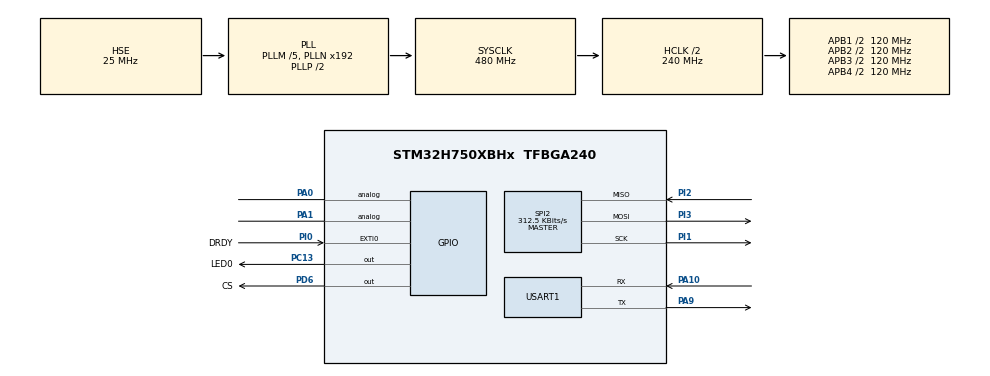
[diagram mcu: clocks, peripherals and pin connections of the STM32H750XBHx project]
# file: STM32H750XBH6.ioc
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CORTEX_M7.AccessPermission-Cortex_Memory_Protection_Unit_Region0_Settings=MPU_REGION_FULL_ACCESS
CORTEX_M7.BaseAddress-Cortex_Memory_Protection_Unit_Region0_Settings=0xC0000000
CORTEX_M7.CPU_DCache=Enabled
CORTEX_M7.CPU_ICache=Enabled
CORTEX_M7.Enable-Cortex_Memory_Protection_Unit_Region0_Settings=MPU_REGION_ENABLE
CORTEX_M7.IsCacheable-Cortex_Memory_Protection_Unit_Region0_Settings=MPU_ACCESS_CACHEABLE
CORTEX_M7.MPU_Control=MPU_PRIVILEGED_DEFAULT
CORTEX_M7.Size-Cortex_Memory_Protection_Unit_Region0_Settings=MPU_REGION_SIZE_32MB
Mcu.Family=STM32H7
Mcu.Name=STM32H750XBHx
Mcu.Package=TFBGA240
NVIC.PriorityGroup=NVIC_PRIORITYGROUP_4
NVIC.USART1_IRQn=true\:0\:0\:false\:false\:true\:true\:true\:true
PA0.Signal=GPIO_Analog
PA1.Signal=GPIO_Analog
PA10.Mode=Asynchronous
PA10.Signal=USART1_RX
PA13\ (JTMS/SWDIO).Mode=Serial_Wire
PA13\ (JTMS/SWDIO).Signal=DEBUG_JTMS-SWDIO
PA14\ (JTCK/SWCLK).Mode=Serial_Wire
PA14\ (JTCK/SWCLK).Signal=DEBUG_JTCK-SWCLK
PA9.Mode=Asynchronous
PA9.Signal=USART1_TX
PC13.GPIO_Label=LED0
PC13.Signal=GPIO_Output
PC14-OSC32_IN\ (OSC32_IN).Mode=LSE-External-Oscillator
PC14-OSC32_IN\ (OSC32_IN).Signal=RCC_OSC32_IN
PC15-OSC32_OUT\ (OSC32_OUT).Mode=LSE-External-Oscillator
PC15-OSC32_OUT\ (OSC32_OUT).Signal=RCC_OSC32_OUT
PD6.GPIO_Label=CS
PD6.PinState=GPIO_PIN_SET
PD6.Signal=GPIO_Output
PF7.GPIO_Speed=GPIO_SPEED_FREQ_VERY_HIGH
PF7.Signal=QUADSPI_BK1_IO2
PF8.GPIO_Speed=GPIO_SPEED_FREQ_VERY_HIGH
PF8.Signal=QUADSPI_BK1_IO0
PF9.GPIO_Speed=GPIO_SPEED_FREQ_VERY_HIGH
PF9.Signal=QUADSPI_BK1_IO1
PG6.GPIO_Speed=GPIO_SPEED_FREQ_VERY_HIGH
PG6.Signal=QUADSPI_BK1_NCS
PH0-OSC_IN\ (PH0).Mode=HSE-External-Oscillator
PH0-OSC_IN\ (PH0).Signal=RCC_OSC_IN
PH1-OSC_OUT\ (PH1).Mode=HSE-External-Oscillator
PH1-OSC_OUT\ (PH1).Signal=RCC_OSC_OUT
PH10.GPIO_Speed=GPIO_SPEED_FREQ_VERY_HIGH
PH10.Signal=DCMI_D1
PH12.GPIO_Speed=GPIO_SPEED_FREQ_VERY_HIGH
PH12.Signal=DCMI_D3
PH2.Signal=FMC_SDCKE0
PH3.Signal=FMC_SDNE0
PH4.GPIO_Speed=GPIO_SPEED_FREQ_VERY_HIGH
PH4.Signal=LTDC_G5
PH6.Signal=S_TIM12_CH1
PH9.GPIO_Speed=GPIO_SPEED_FREQ_VERY_HIGH
PH9.Signal=DCMI_D0
PI0.GPIO_Label=DRDY
PI0.GPIO_ModeDefaultEXTI=GPIO_MODE_IT_FALLING
PI0.Signal=GPXTI0
PI1.Mode=Full_Duplex_Master
PI1.Signal=SPI2_SCK
PI12.GPIO_Speed=GPIO_SPEED_FREQ_VERY_HIGH
PI12.Signal=LTDC_HSYNC
PI13.GPIO_Speed=GPIO_SPEED_FREQ_VERY_HIGH
PI13.Signal=LTDC_VSYNC
PI14.GPIO_Speed=GPIO_SPEED_FREQ_VERY_HIGH
PI14.Signal=LTDC_CLK
PI15.GPIO_Speed=GPIO_SPEED_FREQ_VERY_HIGH
PI15.Signal=LTDC_R0
PI2.Mode=Full_Duplex_Master
PI2.Signal=SPI2_MISO
PI3.Mode=Full_Duplex_Master
PI3.Signal=SPI2_MOSI
PJ0.GPIO_Speed=GPIO_SPEED_FREQ_VERY_HIGH
PJ0.Signal=LTDC_R1
PJ1.GPIO_Speed=GPIO_SPEED_FREQ_VERY_HIGH
PJ1.Signal=LTDC_R2
PJ12.GPIO_Speed=GPIO_SPEED_FREQ_VERY_HIGH
PJ12.Signal=LTDC_B0
PJ13.GPIO_Speed=GPIO_SPEED_FREQ_VERY_HIGH
PJ13.Signal=LTDC_B1
PJ14.GPIO_Speed=GPIO_SPEED_FREQ_VERY_HIGH
PJ14.Signal=LTDC_B2
PJ15.GPIO_Speed=GPIO_SPEED_FREQ_VERY_HIGH
PJ15.Signal=LTDC_B3
PJ2.GPIO_Speed=GPIO_SPEED_FREQ_VERY_HIGH
PJ2.Signal=LTDC_R3
PJ3.GPIO_Speed=GPIO_SPEED_FREQ_VERY_HIGH
PJ3.Signal=LTDC_R4
PJ4.GPIO_Speed=GPIO_SPEED_FREQ_VERY_HIGH
PJ4.Signal=LTDC_R5
PJ5.GPIO_Speed=GPIO_SPEED_FREQ_VERY_HIGH
PJ5.Signal=LTDC_R6
PJ6.GPIO_Speed=GPIO_SPEED_FREQ_VERY_HIGH
PJ6.Signal=LTDC_R7
PJ7.GPIO_Speed=GPIO_SPEED_FREQ_VERY_HIGH
PJ7.Signal=LTDC_G0
PJ8.GPIO_Speed=GPIO_SPEED_FREQ_VERY_HIGH
PJ8.Signal=LTDC_G1
PJ9.GPIO_Speed=GPIO_SPEED_FREQ_VERY_HIGH
PJ9.Signal=LTDC_G2
PK1.GPIO_Speed=GPIO_SPEED_FREQ_VERY_HIGH
PK1.Signal=LTDC_G6
PK2.GPIO_Speed=GPIO_SPEED_FREQ_VERY_HIGH
PK2.Signal=LTDC_G7
PK3.GPIO_Speed=GPIO_SPEED_FREQ_VERY_HIGH
PK3.Signal=LTDC_B4
PK4.GPIO_Speed=GPIO_SPEED_FREQ_VERY_HIGH
PK4.Signal=LTDC_B5
PK5.GPIO_Speed=GPIO_SPEED_FREQ_VERY_HIGH
PK5.Signal=LTDC_B6
PK6.GPIO_Speed=GPIO_SPEED_FREQ_VERY_HIGH
PK6.Signal=LTDC_B7
ProjectManager.HeapSize=0x3000
ProjectManager.StackSize=0x2000
ProjectManager.TargetToolchain=CMake
RCC.ADCCLockSelection=RCC_ADCCLKSOURCE_PLL3
RCC.ADCFreq_Value=25000000
RCC.APB1Freq_Value=120000000
RCC.APB2Freq_Value=120000000
RCC.APB3Freq_Value=120000000
RCC.APB4Freq_Value=120000000
RCC.CortexFreq_Value=480000000
RCC.D1PPRE=RCC_APB3_DIV2
RCC.D2PPRE1=RCC_APB1_DIV2
RCC.D2PPRE2=RCC_APB2_DIV2
RCC.D3PPRE=RCC_APB4_DIV2
RCC.DIVM1=5
RCC.DIVM2=10
RCC.DIVM3=5
RCC.DIVN1=192
RCC.DIVN2=160
RCC.DIVN3=100
RCC.DIVP2=10
RCC.DIVQ1=4
RCC.DIVQ3=20
RCC.DIVR3=20
RCC.HCLKFreq_Value=240000000
RCC.HPRE=RCC_HCLK_DIV2
RCC.PLLSourceVirtual=RCC_PLLSOURCE_HSE
RCC.RTCClockSelection=RCC_RTCCLKSOURCE_LSE
RCC.SPI123CLockSelection=RCC_SPI123CLKSOURCE_PLL2
RCC.SYSCLKFreq_VALUE=480000000
RCC.SYSCLKSource=RCC_SYSCLKSOURCE_PLLCLK
RCC.USBFreq_Value=240000000
SH.S_TIM12_CH1.0=TIM12_CH1
SPI2.BaudRatePrescaler=SPI_BAUDRATEPRESCALER_128
SPI2.CLKPhase=SPI_PHASE_2EDGE
SPI2.CalculateBaudRate=312.5 KBits/s
SPI2.DataSize=SPI_DATASIZE_8BIT
SPI2.Direction=SPI_DIRECTION_2LINES
SPI2.Mode=SPI_MODE_MASTER
SPI2.VirtualType=VM_MASTER
STMicroelectronics.X-CUBE-TOUCHGFX.4.20.0.tgfx_address1=0xC0000000
STMicroelectronics.X-CUBE-TOUCHGFX.4.20.0.tgfx_address2=0xC00BB800
STMicroelectronics.X-CUBE-TOUCHGFX.4.20.0.tgfx_buffering_strategy=Double
STMicroelectronics.X-CUBE-TOUCHGFX.4.20.0.tgfx_custom_height=480
STMicroelectronics.X-CUBE-TOUCHGFX.4.20.0.tgfx_display_interface=disp_ltdc
STMicroelectronics.X-CUBE-TOUCHGFX.4.20.0.tgfx_hardware_accelerator=dma_2d
STMicroelectronics.X-CUBE-TOUCHGFX.4.20.0.tgfx_location=By Address
STMicroelectronics.X-CUBE-TOUCHGFX.4.20.0.tgfx_vsync=vsync_ltdc
STMicroelectronics.X-CUBE-TOUCHGFX.4.20.0_IsPackSelfContextualization=true
USART1.VirtualMode-Asynchronous=VM_ASYNC
VP_CRC_VS_CRC.Mode=CRC_Activate
VP_MEMORYMAP_VS_MEMORYMAP.Mode=CurAppReg
VP_RTC_VS_RTC_Activate.Mode=RTC_Enabled
board=custom

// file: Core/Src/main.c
/* USER CODE BEGIN Header */
/**
  ******************************************************************************
  * @file           : main.c
  * @brief          : Main program body
  ******************************************************************************
  * @attention
  *
  * Copyright (c) 2026 STMicroelectronics.
  * All rights reserved.
  *
  * This software is licensed under terms that can be found in the LICENSE file
  * in the root directory of this software component.
  * If no LICENSE file comes with this software, it is provided AS-IS.
  *
  ******************************************************************************
  */
/* USER CODE END Header */
#include "main.h"
#include "crc.h"
#include "rtc.h"
#include "spi.h"
#include "usart.h"
#include "gpio.h"

/* USER CODE BEGIN Includes */
#include "ads1220.h"
#include <stdio.h>
/* USER CODE END Includes */

void SystemClock_Config(void);
static void MPU_Config(void);

/* USER CODE BEGIN 0 */

/* printf 重定向: 输出到 USART1 */
int __io_putchar(int ch)
{
    HAL_UART_Transmit(&huart1, (uint8_t *)&ch, 1, 100);
    return ch;
}

/* ======================================================================== */
/*  K 型热电偶 NIST 分度表 (0~100℃, 参考端 0℃, 步长 10℃)                     */
/*  单位: mV                                                                  */
/* ======================================================================== */
typedef struct
{
    float temp;     /* 温度 (℃) */
    float voltage;  /* 热电势 (mV) */
} TC_TableEntry;

static const TC_TableEntry tc_table_ktype[] = {
    {  0,  0.000f },
    { 10,  0.397f },
    { 20,  0.798f },
    { 30,  1.203f },
    { 40,  1.612f },
    { 50,  2.023f },
    { 60,  2.436f },
    { 70,  2.851f },
    { 80,  3.267f },
    { 90,  3.682f },
    {100,  4.096f },
};

#define TC_TABLE_SIZE  (sizeof(tc_table_ktype) / sizeof(tc_table_ktype[0]))

/* 冷端温度 25℃ 对应的 K 型热电势 (mV) */
#define COLD_JUNCTION_MV  1.000f

/**
  * @brief  线性插值: 根据热电势查 K 型热电偶温度
  * @param  mv  热电势 (mV), 已包含冷端补偿
  * @retval 温度 (℃), 超出范围返回边界值
  */
static float TC_VoltageToTemp(float mv)
{
    /* 低于表格下限 */
    if (mv <= tc_table_ktype[0].voltage)
        return tc_table_ktype[0].temp;

    /* 高于表格上限 */
    if (mv >= tc_table_ktype[TC_TABLE_SIZE - 1].voltage)
        return tc_table_ktype[TC_TABLE_SIZE - 1].temp;

    /* 查找区间并线性插值 */
    for (int i = 0; i < (int)(TC_TABLE_SIZE - 1); i++)
    {
        if (mv >= tc_table_ktype[i].voltage &&
            mv <  tc_table_ktype[i + 1].voltage)
        {
            float v0 = tc_table_ktype[i].voltage;
            float v1 = tc_table_ktype[i + 1].voltage;
            float t0 = tc_table_ktype[i].temp;
            float t1 = tc_table_ktype[i + 1].temp;

            return t0 + (mv - v0) * (t1 - t0) / (v1 - v0);
        }
    }

    return tc_table_ktype[TC_TABLE_SIZE - 1].temp;  /* fallback */
}

/* USER CODE END 0 */

int main(void)
{

  /* MPU Configuration--------------------------------------------------------*/
  MPU_Config();

  /* Enable the CPU Cache */

  /* Enable I-Cache---------------------------------------------------------*/
  SCB_EnableICache();

  /* Enable D-Cache---------------------------------------------------------*/
  SCB_EnableDCache();

  /* MCU Configuration--------------------------------------------------------*/

  /* Reset of all peripherals, Initializes the Flash interface and the Systick. */
  HAL_Init();

  /* Configure the system clock */
  SystemClock_Config();

  /* Initialize all configured peripherals */
  MX_GPIO_Init();
  MX_USART1_UART_Init();
  MX_CRC_Init();
  MX_RTC_Init();
  MX_SPI2_Init();
  /* USER CODE BEGIN 2 */

  /* 初始化 ADS1220 (连续转换模式, 20 SPS, 增益 32) */
  ADS1220_Init();
  printf("ADS1220 initialized, measuring K-type thermocouple...\r\n");

  /* USER CODE END 2 */

  /* Infinite loop */
  /* USER CODE BEGIN WHILE */
  while (1)
  {
    /* LED 闪烁指示正常运行 (~每 10 次采样翻转一次 ≈ 1.2s 周期) */
    static uint32_t led_cnt = 0;
    if (++led_cnt >= 10)
    {
      led_cnt = 0;
      HAL_GPIO_TogglePin(LED0_GPIO_Port, LED0_Pin);
    }

    /* 读取原始 ADC 值和电压 */
    int32_t raw = ADS1220_ReadRaw();
    float measured_mv = (float)raw / 131072.0f;

    /* 冷端补偿: 加上 25℃ 对应的 1.000 mV */
    float total_mv = measured_mv + COLD_JUNCTION_MV;

    /* 查表 + 线性插值得到实际温度 */
    float temperature = TC_VoltageToTemp(total_mv);

    /* 通过串口打印结果 */
    printf("ADC: %7.3f mV (raw=0x%06lX) | ColdJ: +%.3f mV | Total: %7.3f mV | Temp: %.2f C\r\n",
           (double)measured_mv,
           (unsigned long)(raw & 0xFFFFFF),
           (double)COLD_JUNCTION_MV,
           (double)total_mv,
           (double)temperature);

    /* 20 SPS 每 50ms 一个数据, 留余量 */
    HAL_Delay(60);
    /* USER CODE END WHILE */

  }
}

void SystemClock_Config(void)
{
  RCC_OscInitTypeDef RCC_OscInitStruct = {0};
  RCC_ClkInitTypeDef RCC_ClkInitStruct = {0};

  /** Supply configuration update enable
  */
  HAL_PWREx_ConfigSupply(PWR_LDO_SUPPLY);

  /** Configure the main internal regulator output voltage
  */
  __HAL_PWR_VOLTAGESCALING_CONFIG(PWR_REGULATOR_VOLTAGE_SCALE0);

  while(!__HAL_PWR_GET_FLAG(PWR_FLAG_VOSRDY)) {}

  /** Configure LSE Drive Capability
  */
  HAL_PWR_EnableBkUpAccess();
  __HAL_RCC_LSEDRIVE_CONFIG(RCC_LSEDRIVE_LOW);

  /** Initializes the RCC Oscillators according to the specified parameters
  * in the RCC_OscInitTypeDef structure.
  */
  RCC_OscInitStruct.OscillatorType = RCC_OSCILLATORTYPE_HSE|RCC_OSCILLATORTYPE_LSE;
  RCC_OscInitStruct.HSEState = RCC_HSE_ON;
  RCC_OscInitStruct.LSEState = RCC_LSE_ON;
  RCC_OscInitStruct.PLL.PLLState = RCC_PLL_ON;
  RCC_OscInitStruct.PLL.PLLSource = RCC_PLLSOURCE_HSE;
  RCC_OscInitStruct.PLL.PLLM = 5;
  RCC_OscInitStruct.PLL.PLLN = 192;
  RCC_OscInitStruct.PLL.PLLP = 2;
  RCC_OscInitStruct.PLL.PLLQ = 4;
  RCC_OscInitStruct.PLL.PLLR = 2;
  RCC_OscInitStruct.PLL.PLLRGE = RCC_PLL1VCIRANGE_2;
  RCC_OscInitStruct.PLL.PLLVCOSEL = RCC_PLL1VCOWIDE;
  RCC_OscInitStruct.PLL.PLLFRACN = 0;
  if (HAL_RCC_OscConfig(&RCC_OscInitStruct) != HAL_OK)
  {
    Error_Handler();
  }

  /** Initializes the CPU, AHB and APB buses clocks
  */
  RCC_ClkInitStruct.ClockType = RCC_CLOCKTYPE_HCLK|RCC_CLOCKTYPE_SYSCLK
                              |RCC_CLOCKTYPE_PCLK1|RCC_CLOCKTYPE_PCLK2
                              |RCC_CLOCKTYPE_D3PCLK1|RCC_CLOCKTYPE_D1PCLK1;
  RCC_ClkInitStruct.SYSCLKSource = RCC_SYSCLKSOURCE_PLLCLK;
  RCC_ClkInitStruct.SYSCLKDivider = RCC_SYSCLK_DIV1;
  RCC_ClkInitStruct.AHBCLKDivider = RCC_HCLK_DIV2;
  RCC_ClkInitStruct.APB3CLKDivider = RCC_APB3_DIV2;
  RCC_ClkInitStruct.APB1CLKDivider = RCC_APB1_DIV2;
  RCC_ClkInitStruct.APB2CLKDivider = RCC_APB2_DIV2;
  RCC_ClkInitStruct.APB4CLKDivider = RCC_APB4_DIV2;

  if (HAL_RCC_ClockConfig(&RCC_ClkInitStruct, FLASH_LATENCY_4) != HAL_OK)
  {
    Error_Handler();
  }
}

 /* MPU Configuration */

void MPU_Config(void)
{
  MPU_Region_InitTypeDef MPU_InitStruct = {0};

  /* Disables the MPU */
  HAL_MPU_Disable();

  /** Initializes and configures the Region and the memory to be protected
  */
  MPU_InitStruct.Enable = MPU_REGION_ENABLE;
  MPU_InitStruct.Number = MPU_REGION_NUMBER0;
  MPU_InitStruct.BaseAddress = 0xC0000000;
  MPU_InitStruct.Size = MPU_REGION_SIZE_32MB;
  MPU_InitStruct.SubRegionDisable = 0x0;
  MPU_InitStruct.TypeExtField = MPU_TEX_LEVEL0;
  MPU_InitStruct.AccessPermission = MPU_REGION_FULL_ACCESS;
  MPU_InitStruct.DisableExec = MPU_INSTRUCTION_ACCESS_ENABLE;
  MPU_InitStruct.IsShareable = MPU_ACCESS_NOT_SHAREABLE;
  MPU_InitStruct.IsCacheable = MPU_ACCESS_CACHEABLE;
  MPU_InitStruct.IsBufferable = MPU_ACCESS_NOT_BUFFERABLE;

  HAL_MPU_ConfigRegion(&MPU_InitStruct);
  /* Enables the MPU */
  HAL_MPU_Enable(MPU_PRIVILEGED_DEFAULT);

}

void Error_Handler(void)
{
  __disable_irq();
  while (1)
  {
  }
}
